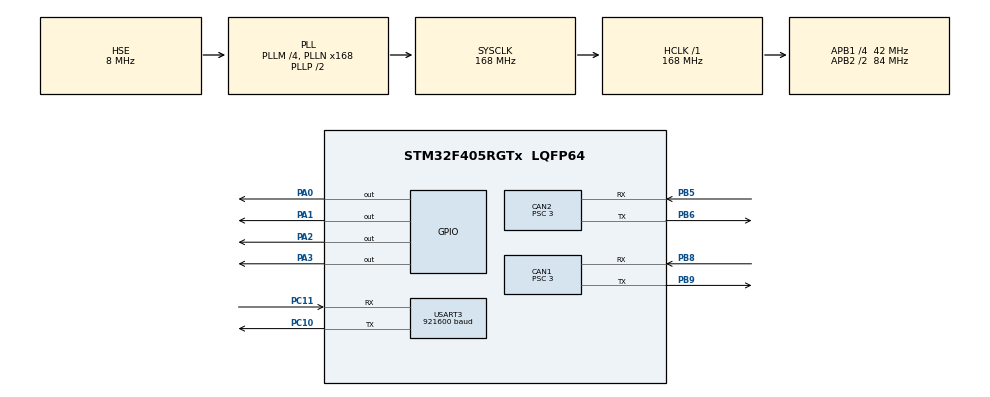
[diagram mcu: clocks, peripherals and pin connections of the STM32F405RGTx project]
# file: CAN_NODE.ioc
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CAN1.BS1=CAN_BS1_10TQ
CAN1.BS2=CAN_BS2_3TQ
CAN1.CalculateBaudRate=1000000
CAN1.CalculateTimeBit=999.99
CAN1.CalculateTimeQuantum=71.42857142857143
CAN1.Prescaler=3
CAN2.BS1=CAN_BS1_10TQ
CAN2.BS2=CAN_BS2_3TQ
CAN2.CalculateBaudRate=1000000
CAN2.CalculateTimeBit=999.99
CAN2.CalculateTimeQuantum=71.42857142857143
CAN2.Prescaler=3
Dma.Request0=USART3_RX
Dma.USART3_RX.0.Direction=DMA_PERIPH_TO_MEMORY
Dma.USART3_RX.0.FIFOMode=DMA_FIFOMODE_DISABLE
Dma.USART3_RX.0.Instance=DMA1_Stream1
Dma.USART3_RX.0.MemDataAlignment=DMA_MDATAALIGN_BYTE
Dma.USART3_RX.0.MemInc=DMA_MINC_ENABLE
Dma.USART3_RX.0.Mode=DMA_NORMAL
Dma.USART3_RX.0.PeriphDataAlignment=DMA_PDATAALIGN_BYTE
Dma.USART3_RX.0.PeriphInc=DMA_PINC_DISABLE
Dma.USART3_RX.0.Priority=DMA_PRIORITY_LOW
Mcu.Family=STM32F4
Mcu.Name=STM32F405RGTx
Mcu.Package=LQFP64
NVIC.CAN1_RX0_IRQn=true\:0\:0\:false\:false\:true\:true\:true
NVIC.CAN1_TX_IRQn=true\:0\:0\:false\:false\:true\:true\:true
NVIC.CAN2_RX0_IRQn=true\:0\:0\:false\:false\:true\:true\:true
NVIC.CAN2_TX_IRQn=true\:0\:0\:false\:false\:true\:true\:true
NVIC.DMA1_Stream1_IRQn=true\:0\:0\:false\:false\:true\:false\:true
NVIC.PriorityGroup=NVIC_PRIORITYGROUP_4
NVIC.TIM2_IRQn=true\:0\:0\:false\:false\:true\:true\:true
NVIC.USART3_IRQn=true\:0\:0\:false\:false\:true\:true\:true
PA0-WKUP.Signal=GPIO_Output
PA1.Signal=GPIO_Output
PA13.Mode=Serial_Wire
PA13.Signal=SYS_JTMS-SWDIO
PA14.Mode=Serial_Wire
PA14.Signal=SYS_JTCK-SWCLK
PA2.Signal=GPIO_Output
PA3.Signal=GPIO_Output
PB5.Mode=CAN_Activate
PB5.Signal=CAN2_RX
PB6.Mode=CAN_Activate
PB6.Signal=CAN2_TX
PB8.Mode=CAN_Activate
PB8.Signal=CAN1_RX
PB9.Mode=CAN_Activate
PB9.Signal=CAN1_TX
PC10.Mode=Asynchronous
PC10.Signal=USART3_TX
PC11.Mode=Asynchronous
PC11.Signal=USART3_RX
PH0-OSC_IN.Mode=HSE-External-Oscillator
PH0-OSC_IN.Signal=RCC_OSC_IN
PH1-OSC_OUT.Mode=HSE-External-Oscillator
PH1-OSC_OUT.Signal=RCC_OSC_OUT
ProjectManager.HeapSize=0x200
ProjectManager.StackSize=0x400
ProjectManager.TargetToolchain=MDK-ARM V5.27
RCC.48MHZClocksFreq_Value=84000000
RCC.AHBFreq_Value=168000000
RCC.APB1CLKDivider=RCC_HCLK_DIV4
RCC.APB1Freq_Value=42000000
RCC.APB1TimFreq_Value=84000000
RCC.APB2CLKDivider=RCC_HCLK_DIV2
RCC.APB2Freq_Value=84000000
RCC.APB2TimFreq_Value=168000000
RCC.CortexFreq_Value=168000000
RCC.HCLKFreq_Value=168000000
RCC.HSE_VALUE=8000000
RCC.HSI_VALUE=16000000
RCC.LSE_VALUE=32768
RCC.PLLM=4
RCC.PLLN=168
RCC.PLLSourceVirtual=RCC_PLLSOURCE_HSE
RCC.SYSCLKFreq_VALUE=168000000
RCC.SYSCLKSource=RCC_SYSCLKSOURCE_PLLCLK
RCC.VCOOutputFreq_Value=336000000
TIM2.Period=999
TIM2.Prescaler=83
USART3.BaudRate=921600
USART3.VirtualMode=VM_ASYNC
VP_TIM2_VS_ClockSourceINT.Mode=Internal
board=custom

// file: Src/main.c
/* USER CODE BEGIN Header */
/**
  ******************************************************************************
  * @file           : main.c
  * @brief          : Main program body
  ******************************************************************************
  * @attention
  *
  * <h2><center>&copy; Copyright (c) 2021 STMicroelectronics.
  * All rights reserved.</center></h2>
  *
  * This software component is licensed by ST under BSD 3-Clause license,
  * the "License"; You may not use this file except in compliance with the
  * License. You may obtain a copy of the License at:
  *                        opensource.org/licenses/BSD-3-Clause
  *
  ******************************************************************************
  */
/* USER CODE END Header */
#include "main.h"
#include "can.h"
#include "dma.h"
#include "tim.h"
#include "usart.h"
#include "gpio.h"

/* USER CODE BEGIN Includes */
#include "math.h"
#include "stdio.h"
#include "ctrl.h"
#include "dji_comm.h"
#include "bsp_can.h"
#include "bsp_usart.h"
#include "odrive_com.h"
#include "dgm_com.h"
/* USER CODE END Includes */

/* USER CODE BEGIN PTD */
extern DriverType Driver[8];
extern MotorType Motor[8];
DGMCanFrame dgmcan;
/* USER CODE END PTD */

void SystemClock_Config(void);

/* USER CODE BEGIN 0 */
int testdata = 0;
int yyyy;
/* USER CODE END 0 */

int main(void)
{

  /* MCU Configuration--------------------------------------------------------*/

  /* Reset of all peripherals, Initializes the Flash interface and the Systick. */
  HAL_Init();

  /* Configure the system clock */
  SystemClock_Config();

  /* Initialize all configured peripherals */
  MX_GPIO_Init();
  MX_DMA_Init();
  MX_CAN1_Init();
  MX_CAN2_Init();
  MX_TIM2_Init();
  MX_USART3_UART_Init();
  /* USER CODE BEGIN 2 */
	CAN_Filter_Init();
	uart_init();
	HAL_TIM_Base_Start_IT(&htim2);
	HAL_Delay(200);
	for (int i = 0; i < 8; i++)
  {
    Motor[i].type = M_2006;
    Driver[i].posCtrl.actualPos = 0.0f;
    MotorOn(i);
  }

	DriverInit(); //初始化速度环以及位置环参数

	HAL_GPIO_WritePin(GPIOA,GPIO_PIN_0|GPIO_PIN_1|GPIO_PIN_2|GPIO_PIN_3,GPIO_PIN_RESET);

	Dgm_Motor_ON(&dgmcan);
  /* USER CODE END 2 */

  /* Infinite loop */
  while (1)
  {
testdata++;
		yyyy++;
    /* USER CODE BEGIN 3 */
		HAL_GPIO_TogglePin(GPIOA,GPIO_PIN_0|GPIO_PIN_1);
    CanSendPeriodMsgs();
    CANRespond();
		HAL_Delay(50);
  }
  /* USER CODE END 3 */
}

void SystemClock_Config(void)
{
  RCC_OscInitTypeDef RCC_OscInitStruct = {0};
  RCC_ClkInitTypeDef RCC_ClkInitStruct = {0};

  /** Configure the main internal regulator output voltage
  */
  __HAL_RCC_PWR_CLK_ENABLE();
  __HAL_PWR_VOLTAGESCALING_CONFIG(PWR_REGULATOR_VOLTAGE_SCALE1);
  /** Initializes the RCC Oscillators according to the specified parameters
  * in the RCC_OscInitTypeDef structure.
  */
  RCC_OscInitStruct.OscillatorType = RCC_OSCILLATORTYPE_HSE;
  RCC_OscInitStruct.HSEState = RCC_HSE_ON;
  RCC_OscInitStruct.PLL.PLLState = RCC_PLL_ON;
  RCC_OscInitStruct.PLL.PLLSource = RCC_PLLSOURCE_HSE;
  RCC_OscInitStruct.PLL.PLLM = 4;
  RCC_OscInitStruct.PLL.PLLN = 168;
  RCC_OscInitStruct.PLL.PLLP = RCC_PLLP_DIV2;
  RCC_OscInitStruct.PLL.PLLQ = 4;
  if (HAL_RCC_OscConfig(&RCC_OscInitStruct) != HAL_OK)
  {
    Error_Handler();
  }
  /** Initializes the CPU, AHB and APB buses clocks
  */
  RCC_ClkInitStruct.ClockType = RCC_CLOCKTYPE_HCLK|RCC_CLOCKTYPE_SYSCLK
                              |RCC_CLOCKTYPE_PCLK1|RCC_CLOCKTYPE_PCLK2;
  RCC_ClkInitStruct.SYSCLKSource = RCC_SYSCLKSOURCE_PLLCLK;
  RCC_ClkInitStruct.AHBCLKDivider = RCC_SYSCLK_DIV1;
  RCC_ClkInitStruct.APB1CLKDivider = RCC_HCLK_DIV4;
  RCC_ClkInitStruct.APB2CLKDivider = RCC_HCLK_DIV2;

  if (HAL_RCC_ClockConfig(&RCC_ClkInitStruct, FLASH_LATENCY_5) != HAL_OK)
  {
    Error_Handler();
  }
}

void Error_Handler(void)
{
  __disable_irq();
  while (1)
  {
  }
}

/************************ (C) COPYRIGHT STMicroelectronics *****END OF FILE****/
